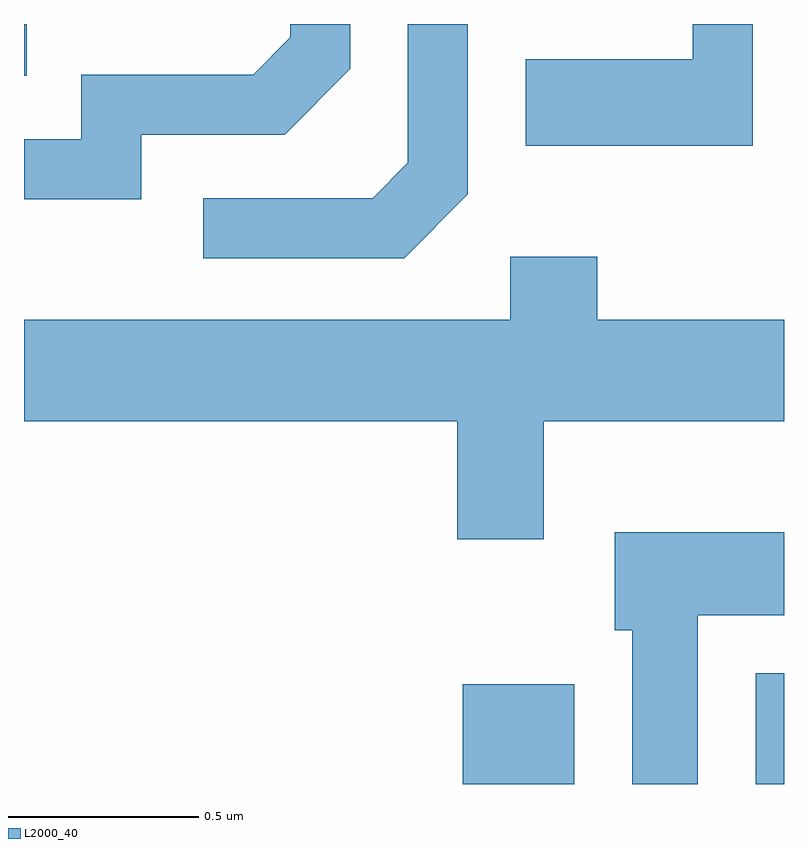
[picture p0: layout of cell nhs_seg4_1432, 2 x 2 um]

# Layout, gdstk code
import gdstk
lib = gdstk.Library(unit=1e-6, precision=1e-09)
def R(c, l, rs):  # rectangles x0, y0, x1, y1
    for r in rs: c.add(gdstk.rectangle(r[:2], r[2:], *l))
def P(c, l, *ps):  # polygons
    for p in ps: c.add(gdstk.Polygon(p, *l))
L2000_40 = (2000, 40)

nhs_seg4_1432 = lib.new_cell('nhs_seg4_1432')
R(nhs_seg4_1432, L2000_40, [(196.766,1315.982,197.059,1316.244), (197.536,1315.982,197.611,1316.274), (195.611,1317.846,195.618,1317.982)])
P(nhs_seg4_1432, L2000_40, [(197.529,1317.982),(197.371,1317.982),(197.371,1317.889),(196.931,1317.889),(196.931,1317.661),(197.529,1317.661)],
  [(196.779,1317.534),(196.779,1317.982),(196.621,1317.982),(196.621,1317.617),(196.529,1317.524),(196.083,1317.524),(196.083,1317.366),(196.612,1317.366)],
  [(195.919,1317.691),(196.297,1317.691),(196.469,1317.864),(196.469,1317.982),(196.311,1317.982),(196.311,1317.947),(196.214,1317.849),(195.761,1317.849),(195.761,1317.679),(195.611,1317.679),(195.611,1317.521),(195.919,1317.521)],
  [(196.979,1316.936),(197.611,1316.936),(197.611,1317.204),(197.119,1317.204),(197.119,1317.369),(196.891,1317.369),(196.891,1317.204),(195.611,1317.204),(195.611,1316.936),(196.751,1316.936),(196.751,1316.626),(196.979,1316.626)],
  [(197.384,1316.426),(197.611,1316.426),(197.611,1316.644),(197.166,1316.644),(197.166,1316.386),(197.211,1316.386),(197.211,1315.982),(197.384,1315.982)])

lib.write_gds('nhs_seg4_1432.gds')
